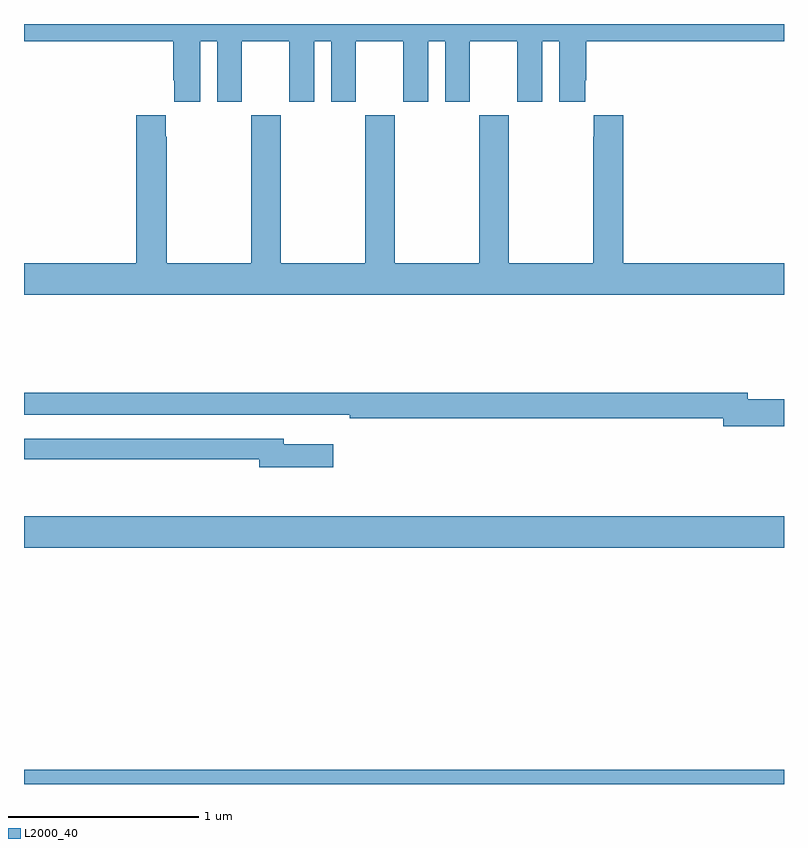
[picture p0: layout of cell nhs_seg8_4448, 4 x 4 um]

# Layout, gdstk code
import gdstk
lib = gdstk.Library(unit=1e-6, precision=1e-09)
def R(c, l, rs):  # rectangles x0, y0, x1, y1
    for r in rs: c.add(gdstk.rectangle(r[:2], r[2:], *l))
def P(c, l, *ps):  # polygons
    for p in ps: c.add(gdstk.Polygon(p, *l))
L2000_40 = (2000, 40)

nhs_seg8_4448 = lib.new_cell('nhs_seg8_4448')
R(nhs_seg8_4448, L2000_40, [(381,1137.9,385,1137.976), (381,1139.144,385,1139.308)])
P(nhs_seg8_4448, L2000_40, [(381.928,1141.808),(382.016,1141.808),(382.016,1141.491),(382.147,1141.491),(382.147,1141.808),(382.397,1141.808),(382.397,1141.491),(382.528,1141.491),(382.528,1141.808),(382.616,1141.808),(382.616,1141.491),(382.747,1141.491),(382.747,1141.808),(382.997,1141.808),(382.997,1141.491),(383.128,1141.491),(383.128,1141.808),(383.216,1141.808),(383.216,1141.491),(383.347,1141.491),(383.347,1141.808),(383.597,1141.808),(383.597,1141.491),(383.728,1141.491),(383.728,1141.808),(383.816,1141.808),(383.816,1141.491),(383.953,1141.491),(383.953,1141.603),(383.96,1141.603),(383.96,1141.808),(385,1141.808),(385,1141.9),(381,1141.9),(381,1141.808),(381.785,1141.808),(381.785,1141.603),(381.791,1141.603),(381.791,1141.491),(381.928,1141.491)],
  [(385,1140.64),(384.155,1140.64),(384.155,1141.42),(383.999,1141.42),(383.999,1141.307),(383.995,1141.307),(383.995,1140.64),(383.55,1140.64),(383.55,1141.42),(383.395,1141.42),(383.395,1140.64),(382.95,1140.64),(382.95,1141.42),(382.795,1141.42),(382.795,1140.64),(382.35,1140.64),(382.35,1141.42),(382.195,1141.42),(382.195,1140.64),(381.75,1140.64),(381.75,1141.307),(381.745,1141.307),(381.745,1141.42),(381.59,1141.42),(381.59,1140.64),(381,1140.64),(381,1140.476),(385,1140.476)],
  [(385,1139.924),(384.808,1139.924),(384.808,1139.96),(381,1139.96),(381,1139.844),(382.462,1139.844),(382.462,1139.843),(382.714,1139.843),(382.714,1139.824),(384.68,1139.824),(384.68,1139.782),(385,1139.782)],
  [(382.627,1139.689),(382.366,1139.689),(382.366,1139.718),(381,1139.718),(381,1139.61),(382.238,1139.61),(382.238,1139.567),(382.627,1139.567)])

lib.write_gds('nhs_seg8_4448.gds')
